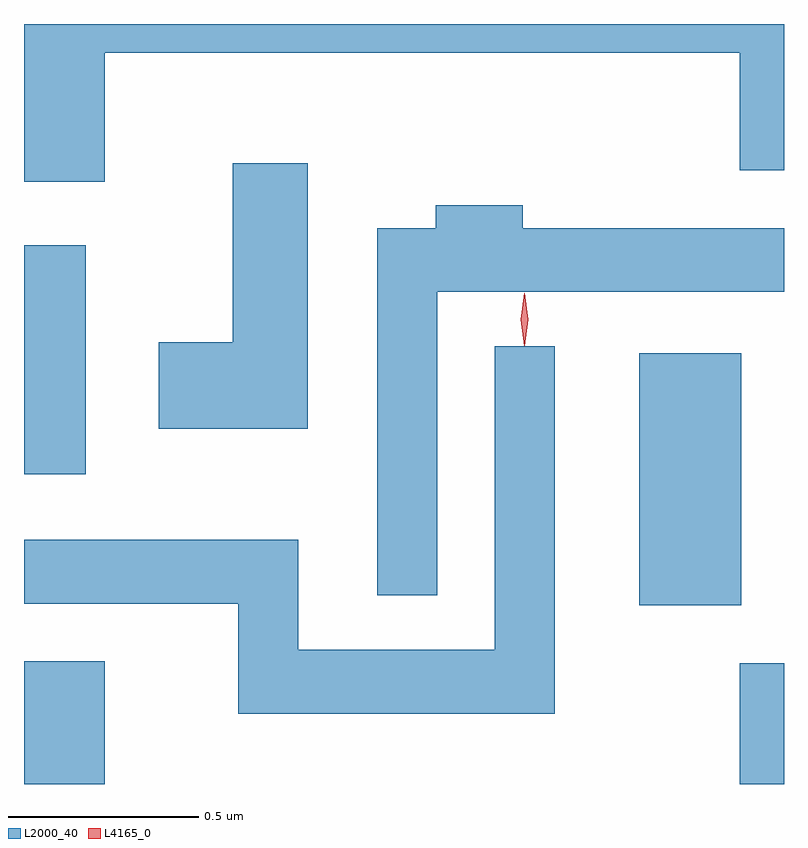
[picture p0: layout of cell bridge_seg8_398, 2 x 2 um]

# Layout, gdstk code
import gdstk
lib = gdstk.Library(unit=1e-6, precision=1e-09)
def R(c, l, rs):  # rectangles x0, y0, x1, y1
    for r in rs: c.add(gdstk.rectangle(r[:2], r[2:], *l))
def P(c, l, *ps):  # polygons
    for p in ps: c.add(gdstk.Polygon(p, *l))
L2000_40 = (2000, 40)
L4165_0 = (4165, 0)

bridge_seg8_398 = lib.new_cell('bridge_seg8_398')
R(bridge_seg8_398, L2000_40, [(683.907,1923.291,684.119,1923.614), (685.791,1923.291,685.907,1923.609), (685.526,1923.761,685.794,1924.424), (683.907,1924.106,684.069,1924.709)])
P(bridge_seg8_398, L2000_40, [(684.119,1925.216),(685.791,1925.216),(685.791,1924.906),(685.907,1924.906),(685.907,1925.291),(683.907,1925.291),(683.907,1924.876),(684.119,1924.876)],
  [(684.654,1924.924),(684.456,1924.924),(684.456,1924.454),(684.261,1924.454),(684.261,1924.226),(684.654,1924.226)],
  [(684.994,1924.586),(685.907,1924.586),(685.907,1924.754),(685.219,1924.754),(685.219,1924.814),(684.991,1924.814),(684.991,1924.754),(684.836,1924.754),(684.836,1923.788),(684.994,1923.788)],
  [(685.304,1924.443),(685.146,1924.443),(685.146,1923.644),(684.629,1923.644),(684.629,1923.934),(683.907,1923.934),(683.907,1923.766),(684.471,1923.766),(684.471,1923.476),(685.304,1923.476)])
P(bridge_seg8_398, L4165_0, [(685.224,1924.444),(685.224,1924.444),(685.214,1924.513),(685.224,1924.582),(685.224,1924.583),(685.225,1924.582),(685.234,1924.513),(685.225,1924.444)],
  [(685.223,1924.447),(685.214,1924.514),(685.223,1924.58),(685.223,1924.58),(685.224,1924.58),(685.234,1924.514),(685.224,1924.447),(685.224,1924.447)])

lib.write_gds('bridge_seg8_398.gds')
